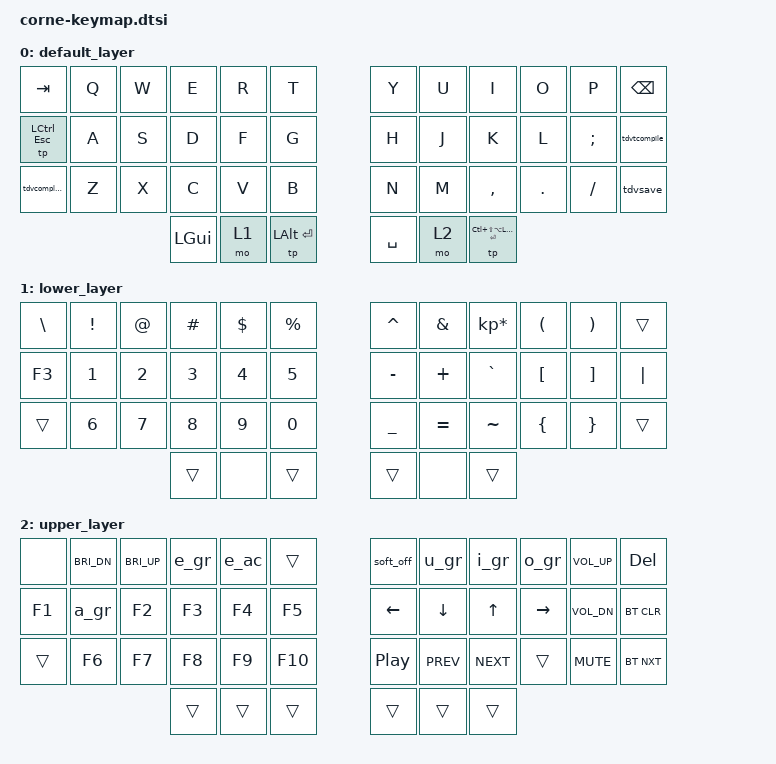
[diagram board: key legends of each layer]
// ZMK includes
#include <behaviors.dtsi>
#include <dt-bindings/zmk/keys.h>
#include <dt-bindings/zmk/bt.h>
#include <dt-bindings/zmk/ext_power.h>
  
// Personal includes
#include "da-combos.dtsi"
#include "da-macros.dtsi"
#include "da-behaviors.dtsi"
// #include "da-soft-off.dtsi"

// Shortcuts
#define HYPER LC(LS(LA(LGUI)))

// Soft-off: only turn off it the key is held for 3 seconds or longer.
&soft_off {
    hold-time-ms = <3000>; 
};

/ {
  
  keymap {

    compatible = "zmk,keymap";

      default_layer {
        bindings = <  
          &kp TAB        &kp Q  &kp W  &kp E     &kp R  &kp T             &kp Y            &kp U  &kp I      &kp O    &kp P     &kp BSPC
          &tp LCTRL ESC  &kp A  &kp S  &kp D     &kp F  &kp G             &kp H            &kp J  &kp K      &kp L    &kp SEMI  &tdvtcompile
          &tdvcomplete   &kp Z  &kp X  &kp C     &kp V  &kp B             &kp N            &kp M  &kp COMMA  &kp DOT  &kp FSLH  &tdvsave
                                       &kp LGUI  &mo 1  &tp LALT RET      &kp SPACE        &mo 2  &tp HYPER RET
        >;
      };
              
      lower_layer {
        bindings = <
          &kp BSLH   &kp EXCL  &kp AT  &kp HASH  &kp DLLR &kp PRCNT         &kp CARET  &kp AMPS   &kp KP_MULTIPLY  &kp LPAR  &kp RPAR  &trans
          &kp F3     &kp N1    &kp N2  &kp N3    &kp N4   &kp N5            &kp MINUS  &kp PLUS   &kp GRAVE        &kp LBKT  &kp RBKT  &kp PIPE
          &trans     &kp N6    &kp N7  &kp N8    &kp N9   &kp N0            &kp UNDER  &kp EQUAL  &kp TILDE        &kp LBRC  &kp RBRC  &trans
                                       &trans    &none    &trans            &trans     &none      &trans
        >;
      };

      upper_layer {
        bindings = <
          &none        &kp C_BRI_DN  &kp C_BRI_UP    &e_gr   &e_ac   &trans       &soft_off   &u_gr       &i_gr       &o_gr      &kp C_VOL_UP  &kp DELETE
          &kp F1       &a_gr         &kp F2          &kp F3  &kp F4  &kp F5       &kp LEFT    &kp DOWN    &kp UP      &kp RIGHT  &kp C_VOL_DN  &bt BT_CLR
          &trans       &kp F6        &kp F7          &kp F8  &kp F9  &kp F10      &kp C_PP    &kp C_PREV  &kp C_NEXT  &trans     &kp C_MUTE    &bt BT_NXT
                                                     &trans  &trans  &trans       &trans      &trans      &trans
        >;
      };
                    
  };

};
